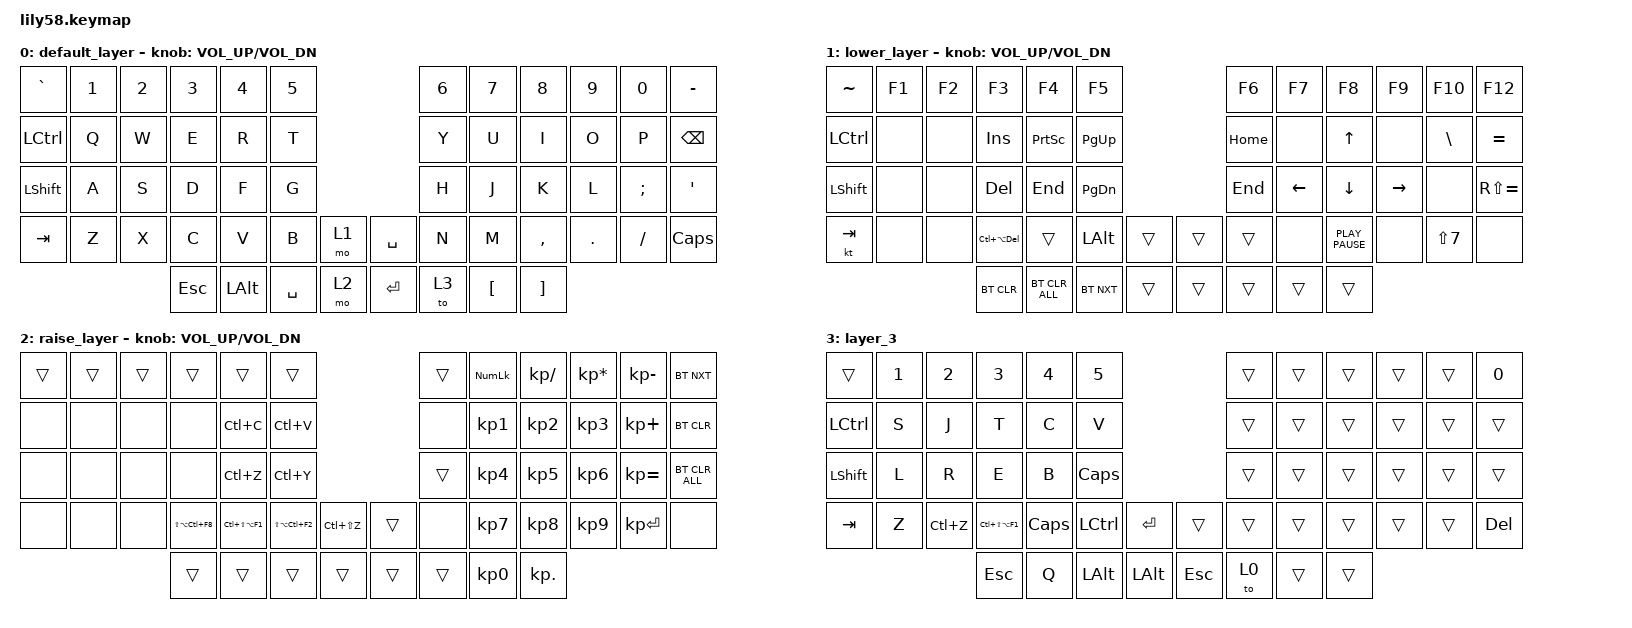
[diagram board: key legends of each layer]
/*
 * Copyright (c) 2020 The ZMK Contributors
 *
 * SPDX-License-Identifier: MIT
 */

#include <behaviors.dtsi>
#include <dt-bindings/zmk/bt.h>
#include <dt-bindings/zmk/keys.h>
#include <dt-bindings/zmk/keys.h>

/ {
    combos { compatible = "zmk,combos"; };

    behaviors {
        ss_hs_modmorph: ss_hs_modmorph {
            compatible = "zmk,behavior-mod-morph";
            label = "SS_HS_MODMORPH";
            bindings = <&kp M>, <&kp RIGHT_BRACKET>;

            #binding-cells = <0>;
            mods = <(MOD_LSFT|MOD_RSFT)>;
        };

        kh_hs_tapdance: kh_hs_tapdance {
            compatible = "zmk,behavior-tap-dance";
            label = "KH_HS_TAPDANCE";
            #binding-cells = <0>;
            tapping-term-ms = <200>;
            bindings = <&kp LEFT_BRACKET>, <&kp RIGHT_BRACKET>;
        };

        hrm: hrm {
            compatible = "zmk,behavior-hold-tap";
            #binding-cells = <2>;
            flavor = "tap-preferred";
            tapping-term-ms = <200>;
            quick-tap-ms = <200>;
            require-prior-idle-ms = <125>;
            bindings = <&kp>, <&kp>;
        };
    };

    keymap {
        compatible = "zmk,keymap";

        default_layer {
            // ------------------------------------------------------------------------------------------------------------
            // |  ESC  |  1  |  2  |  3   |  4   |  5   |                   |  6   |  7    |  8    |  9   |   0   |   `   |
            // |  TAB  |  Q  |  W  |  E   |  R   |  T   |                   |  Y   |  U    |  I    |  O   |   P   |   -   |
            // |  CTRL |  A  |  S  |  D   |  F   |  G   |                   |  H   |  J    |  K    |  L   |   ;   |   '   |
            // | SHIFT |  Z  |  X  |  C   |  V   |  B   |   "["  |  |  "]"  |  N   |  M    |  ,    |  .   |   /   | SHIFT |
            //                     | ALT  | GUI  | LOWER|  SPACE |  | ENTER | RAISE| BSPC  | GUI   |

            bindings = <
&kp GRAVE   &kp N1  &kp N2  &kp N3   &kp N4        &kp N5                         &kp N6  &kp N7            &kp N8             &kp N9   &kp N0    &kp MINUS
&kp LCTRL   &kp Q   &kp W   &kp E    &kp R         &kp T                          &kp Y   &kp U             &kp I              &kp O    &kp P     &kp BACKSPACE
&kp LSHIFT  &kp A   &kp S   &kp D    &kp F         &kp G                          &kp H   &kp J             &kp K              &kp L    &kp SEMI  &kp SQT
&kp TAB     &kp Z   &kp X   &kp C    &kp V         &kp B      &mo 1    &kp SPACE  &kp N   &kp M             &kp COMMA          &kp DOT  &kp FSLH  &kp CAPSLOCK
                            &kp ESC  &kp LEFT_ALT  &kp SPACE  &mo 2    &kp RET    &to 3   &kp LEFT_BRACKET  &kp RIGHT_BRACKET
            >;

            sensor-bindings = <&inc_dec_kp C_VOL_UP C_VOL_DN>;
        };

        lower_layer {
            // ------------------------------------------------------------------------------------------------------------
            // | BTCLR | BT1 | BT2 |  BT3 |  BT4 |  BT5 |                   |      |       |       |      |       |       |
            // |  F1   |  F2 |  F3 |  F4  |  F5  |  F6  |                   |  F7  |  F8   |  F9   |  F10 |  F11  |  F12  |
            // |   `   |  !  |  @  |  #   |  $   |  %   |                   |  ^   |  &    |  *    |  (   |   )   |   ~   |
            // |       |     |     |      |      |      |        |  |       |      |  _    |  +    |  {   |   }   |  "|"  |
            //                     |      |      |      |        |  |       |      |       |       |

            bindings = <
&kp TILDE  &kp F1  &kp F2  &kp F3           &kp F4           &kp F5                           &kp F6    &kp F7          &kp F8            &kp F9           &kp F10        &kp F12
&kp LCTRL  &none   &none   &kp INSERT       &kp PRINTSCREEN  &kp PAGE_UP                      &kp HOME  &none           &kp UP_ARROW      &none            &kp BACKSLASH  &kp EQUAL
&kp LSHFT  &none   &none   &kp DELETE       &kp END          &kp PAGE_DOWN                    &kp END   &kp LEFT_ARROW  &kp DOWN_ARROW    &kp RIGHT_ARROW  &none          &kp RS(EQUAL)
&kt TAB    &none   &none   &kp LC(LA(DEL))  &trans           &kp LEFT_ALT   &trans    &trans  &trans    &none           &kp K_PLAY_PAUSE  &none            &kp LS(N7)     &none
                           &bt BT_CLR       &bt BT_CLR_ALL   &bt BT_NXT     &trans    &trans  &trans    &trans          &trans
            >;

            sensor-bindings = <&inc_dec_kp C_VOL_UP C_VOL_DN>;
        };

        raise_layer {
            // ------------------------------------------------------------------------------------------------------------
            // |       |     |     |      |      |      |                   |      |       |       |      |       |       |
            // |   `   |  1  |  2  |  3   |  4   |  5   |                   |  6   |   7   |   8   |  9   |   0   |       |
            // |   F1  |  F2 |  F3 |  F4  |  F5  |  F6  |                   |      |   <-  |   v   |  ^   |  ->   |       |
            // |   F7  |  F8 |  F9 |  F10 |  F11 |  F12 |        |  |       |  +   |   -   |   =   |  [   |   ]   |   \   |
            //                     |      |      |      |        |  |       |      |       |       |

            bindings = <
&trans  &trans  &trans  &trans              &trans              &trans                                       &trans  &kp KP_NUMLOCK   &kp KP_DIVIDE    &kp KP_ASTERISK  &kp KP_MINUS  &bt BT_NXT
&none   &none   &none   &none               &kp LC(C)           &kp LC(V)                                    &none   &kp KP_NUMBER_1  &kp KP_NUMBER_2  &kp KP_NUMBER_3  &kp KP_PLUS   &bt BT_CLR
&none   &none   &none   &none               &kp LC(Z)           &kp LC(Y)                                    &trans  &kp KP_NUMBER_4  &kp KP_NUMBER_5  &kp KP_NUMBER_6  &kp KP_EQUAL  &bt BT_CLR_ALL
&none   &none   &none   &kp LS(LA(LC(F8)))  &kp LC(LS(LA(F1)))  &kp LS(LA(LC(F2)))  &kp LC(LS(Z))    &trans  &none   &kp KP_NUMBER_7  &kp KP_NUMBER_8  &kp KP_NUMBER_9  &kp KP_ENTER  &none
                        &trans              &trans              &trans              &trans           &trans  &trans  &kp KP_NUMBER_0  &kp KP_DOT
            >;

            sensor-bindings = <&inc_dec_kp C_VOL_UP C_VOL_DN>;
        };

        layer_3 {
            bindings = <
&trans      &kp NUMBER_1  &kp NUMBER_2  &kp NUMBER_3        &kp NUMBER_4  &kp NUMBER_5                           &trans  &trans  &trans  &trans  &trans  &kp N0
&kp LCTRL   &kp S         &kp J         &kp T               &kp C         &kp V                                  &trans  &trans  &trans  &trans  &trans  &trans
&kp LSHIFT  &kp L         &kp R         &kp E               &kp B         &kp CAPS                               &trans  &trans  &trans  &trans  &trans  &trans
&kp TAB     &kp Z         &kp LC(Z)     &kp LC(LS(LA(F1)))  &kp CAPSLOCK  &kp LCTRL     &kp ENTER       &trans   &trans  &trans  &trans  &trans  &trans  &kp DEL
                                        &kp ESC             &kp Q         &kp LEFT_ALT  &kp LEFT_ALT    &kp ESC  &to 0   &trans  &trans
            >;
        };
    };

    conditional_layers { compatible = "zmk,conditional-layers"; };
};
